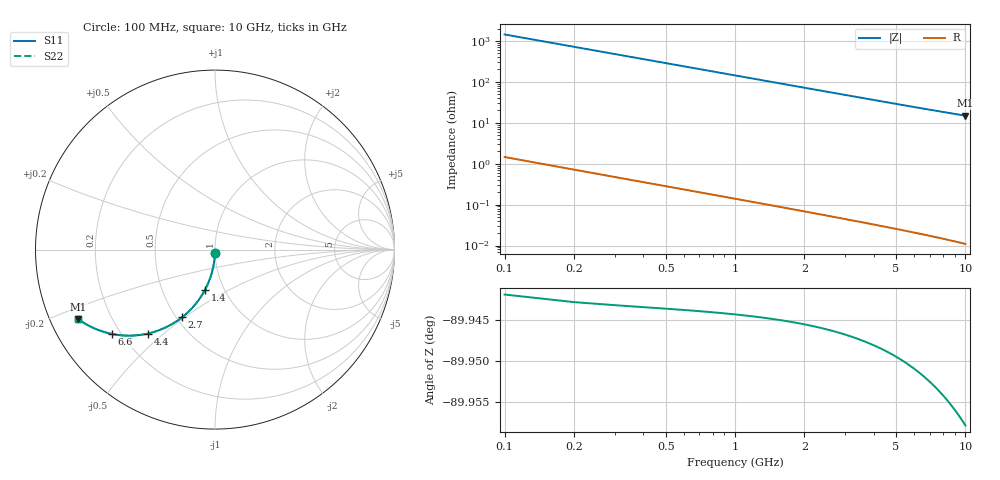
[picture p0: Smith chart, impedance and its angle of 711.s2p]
# Hz S RI R 50.00
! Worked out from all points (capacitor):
!   100 points, 100 MHz to 10 GHz, reference 50 ohm
!   read as one part in shunt: C = 1.11 pF near 100 MHz
!   lowest |Z| = 14.9 ohm at 10 GHz (marker M1)
!   S11 on the Smith chart (normalised r, x): 100 MHz: 1.00, -0.03; 1.4 GHz: 0.81, -0.39; 2.7 GHz: 0.54, -0.49; 4.4 GHz: 0.30, -0.44; 6.6 GHz: 0.17, -0.35; 10 GHz: 0.08, -0.24
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1e8  -0.000174 -0.0171  0.9995 -0.0178  0.9995 -0.0178  -0.000174 -0.0171
2e8  -0.0011 -0.0342  0.9986 -0.0356  0.9986 -0.0356  -0.0011 -0.0342
3e8  -0.00264 -0.0512  0.9971 -0.0533  0.9971 -0.0533  -0.00264 -0.0512
4e8  -0.00478 -0.0681  0.9949 -0.071  0.9949 -0.071  -0.00478 -0.0681
5e8  -0.00751 -0.0849  0.9922 -0.0885  0.9922 -0.0885  -0.00751 -0.0849
6e8  -0.0108 -0.1015  0.9889 -0.1058  0.9889 -0.1058  -0.0108 -0.1015
7e8  -0.0147 -0.118  0.985 -0.123  0.985 -0.123  -0.0147 -0.118
9e8  -0.0241 -0.1502  0.9755 -0.1567  0.9755 -0.1567  -0.0241 -0.1502
1.1e9  -0.0357 -0.1814  0.964 -0.1893  0.964 -0.1893  -0.0357 -0.1814
1.4e9  -0.0566 -0.2258  0.9431 -0.2358  0.9431 -0.2358  -0.0566 -0.2258
1.8e9  -0.0902 -0.2798  0.9094 -0.2927  0.9094 -0.2927  -0.0902 -0.2798
2.2e9  -0.1291 -0.3272  0.8704 -0.3429  0.8704 -0.3429  -0.1291 -0.3272
2.7e9  -0.1827 -0.3765  0.8168 -0.3958  0.8168 -0.3958  -0.1827 -0.3765
3.4e9  -0.2621 -0.4272  0.7373 -0.4517  0.7373 -0.4517  -0.2621 -0.4272
4.4e9  -0.3738 -0.4676  0.6253 -0.4993  0.6253 -0.4993  -0.3738 -0.4676
5.1e9  -0.4458 -0.4782  0.5532 -0.515  0.5532 -0.515  -0.4458 -0.4782
5.8e9  -0.5108 -0.4783  0.488 -0.5204  0.488 -0.5204  -0.5108 -0.4783
6.6e9  -0.5758 -0.4696  0.4227 -0.5176  0.4227 -0.5176  -0.5758 -0.4696
6.7e9  -0.5833 -0.468  0.4152 -0.5167  0.4152 -0.5167  -0.5833 -0.468
7.5e9  -0.638 -0.4524  0.3602 -0.5072  0.3602 -0.5072  -0.638 -0.4524
8.4e9  -0.6897 -0.4308  0.308 -0.4924  0.308 -0.4924  -0.6897 -0.4308
1e10  -0.761 -0.3879  0.2359 -0.462  0.2359 -0.462  -0.761 -0.3879
